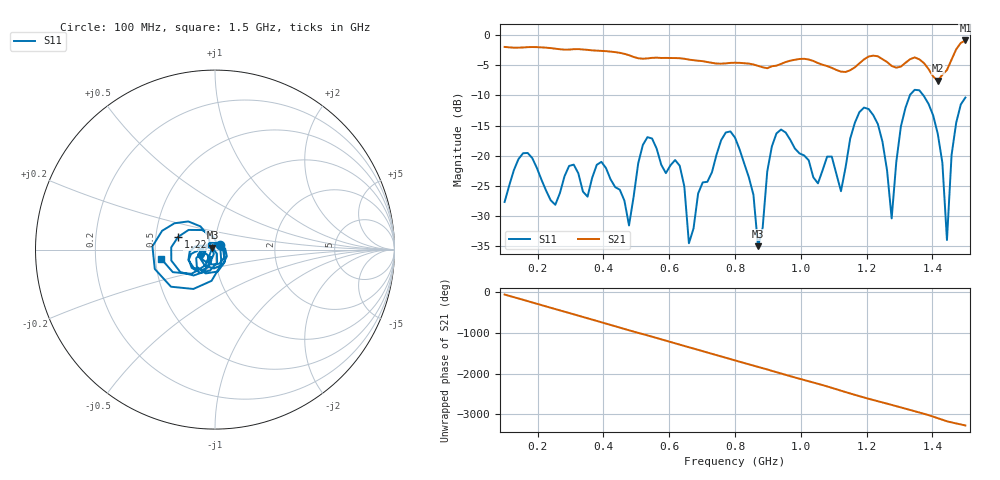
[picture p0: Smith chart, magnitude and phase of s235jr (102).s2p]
! NanoVNA-App
! Date: 2025-09-26 09:45:35
! Start: 100MHz Stop: 1,5GHz Points: 101
! S-Parameter data: F S11 S21 S12 S22
# Hz S RI R 50
!  Frequency  S11_Real  S11_Imag  S21_Real  S21_Imag  S12_Real  S12_Imag  S22_Real  S22_Imag
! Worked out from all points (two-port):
!   101 points, 100 MHz to 1.5 GHz, reference 50 ohm
!   highest |S21| = -0.88 dB at 1.5 GHz (marker M1); lowest = -7.6 dB at 1.416 GHz (marker M2)
!   |S21| within 3 dB of the highest: start of sweep to 515 MHz; 526.9 MHz to 640.9 MHz (114 MHz wide, 19.5 % of centre) (the widest 2 of 5)
!   lowest |S11| = -35.0 dB at 870 MHz (marker M3), VSWR 1.04, Z = 48.6 + j0.995 ohm
!   |S11| at or under -10 dB: start of sweep to 1.331 GHz; 1.373 GHz to end of sweep
!   S12 and S22 are empty: the file has one direction only
!   S11 on the Smith chart (normalised r, x): 100 MHz: 1.06, +0.06; 1.22 GHz: 0.65, +0.10; 1.5 GHz: 0.54, -0.06
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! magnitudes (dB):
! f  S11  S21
! 100 MHz  -27.6  -2.0
! 156 MHz  -19.6  -2.0
! 338 MHz  -25.9  -2.4
! 394 MHz  -21.0  -2.6
! 478 MHz  -31.5  -3.3
! 520 MHz  -18.2  -3.9
! 576 MHz  -21.5  -3.8
! 632 MHz  -21.6  -3.8
! 660 MHz  -34.5  -4.1
! 800 MHz  -17.0  -4.6
! 870 MHz  -35.0  -5.1
! 926 MHz  -16.3  -5.1
! 1.038 GHz  -23.6  -4.3
! 1.122 GHz  -25.9  -6.0
! 1.164 GHz  -14.5  -5.3
! 1.22 GHz  -13.3  -3.4
! 1.276 GHz  -30.4  -5.1
! 1.332 GHz  -9.9  -4.0
! 1.416 GHz  -16.3  -7.6
! 1.444 GHz  -33.9  -5.8
! 1.458 GHz  -19.9  -4.1
! 1.5 GHz  -10.3  -0.9
